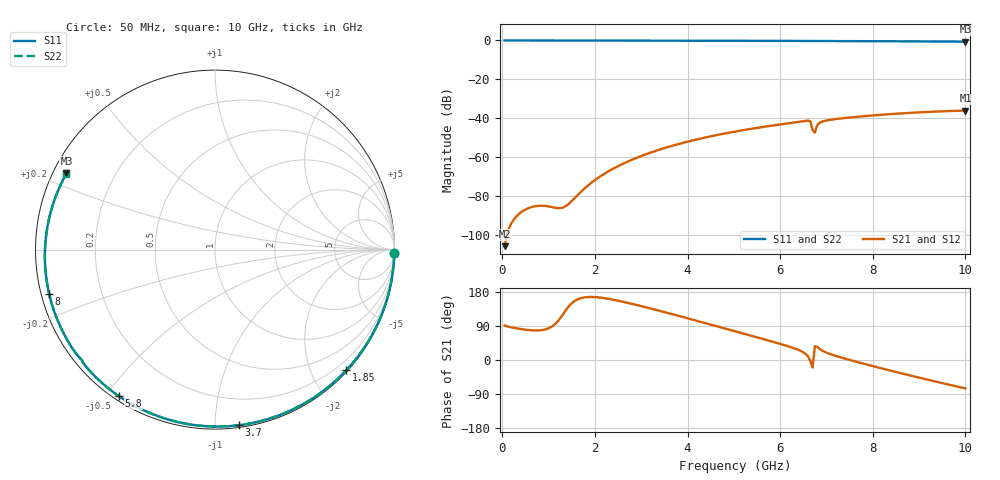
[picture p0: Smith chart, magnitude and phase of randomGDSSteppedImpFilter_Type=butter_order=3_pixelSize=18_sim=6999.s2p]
! freq	dB(S11)	phase(S11)	dB(S12)	phase(S12)
!  dB(S21)	phase(S21)	dB(S22)	phase(S22)
!S-par simulation data
#  GHz  S  DB  R 50
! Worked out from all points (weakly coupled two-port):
!   200 points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, 50 MHz to 10 GHz, reference 50 ohm
!   highest |S21| = -36.00 dB at 10 GHz (marker M1); lowest = -105.6 dB at 50 MHz (marker M2)
!   lowest |S11| = -0.6 dB at 10 GHz (marker M3), VSWR 27.55, Z = 1.92 + j12.1 ohm
!   |S11| at or under -10 dB: nowhere
!   |S22| runs from -0.6 to 0.0 dB; largest |S21 - S12| = 0
!   S11 on the Smith chart (normalised r, x): 50 MHz: open; 1.85 GHz: 0.02, -2.57; 3.7 GHz: 0.01, -1.15; 5.8 GHz: 0.02, -0.54; 8 GHz: 0.02, -0.13; 10 GHz: 0.04, +0.24
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0.05  -0.00 -1.1  -105.60 91.0  -105.60 91.0  -0.00 -1.1
0.8  -0.02 -18.7  -84.88 78.3  -84.88 78.3  -0.02 -18.6
1.6  -0.05 -37.0  -80.02 158.5  -80.02 158.5  -0.05 -36.9
1.75  -0.05 -40.3  -76.55 164.8  -76.55 164.8  -0.05 -40.3
1.85  -0.05 -42.6  -74.47 166.2  -74.47 166.2  -0.05 -42.5
2.15  -0.06 -49.2  -69.24 164.2  -69.24 164.2  -0.06 -49.2
2.5  -0.07 -56.9  -64.52 156.5  -64.52 156.5  -0.07 -56.8
3.4  -0.10 -76.0  -56.00 129.7  -56.00 129.7  -0.10 -75.9
3.7  -0.11 -82.1  -53.86 120.0  -53.86 120.0  -0.11 -82.1
4.35  -0.13 -95.2  -49.99 98.5  -49.99 98.5  -0.13 -95.2
5.05  -0.17 -108.9  -46.68 75.1  -46.68 75.1  -0.17 -108.9
5.8  -0.21 -123.3  -43.81 49.6  -43.81 49.6  -0.21 -123.2
6.6  -0.27 -138.5  -41.14 9.6  -41.14 9.6  -0.27 -138.4
6.65  -0.29 -139.5  -41.53 -2.2  -41.53 -2.2  -0.29 -139.4
6.7  -0.32 -140.4  -45.85 -19.6  -45.85 -19.6  -0.32 -140.3
6.75  -0.31 -141.1  -47.30 36.5  -47.30 36.5  -0.31 -141.0
6.8  -0.30 -142.0  -43.50 34.9  -43.50 34.9  -0.30 -141.9
6.95  -0.30 -144.9  -41.36 22.1  -41.36 22.1  -0.29 -144.8
8  -0.39 -165.1  -38.49 -16.1  -38.49 -16.1  -0.39 -165.0
8.35  -0.43 -172.0  -37.86 -27.0  -37.86 -27.0  -0.43 -171.9
9.2  -0.53 170.5  -36.68 -52.4  -36.68 -52.4  -0.53 170.6
10  -0.63 152.9  -36.00 -74.9  -36.00 -74.9  -0.63 153.0
